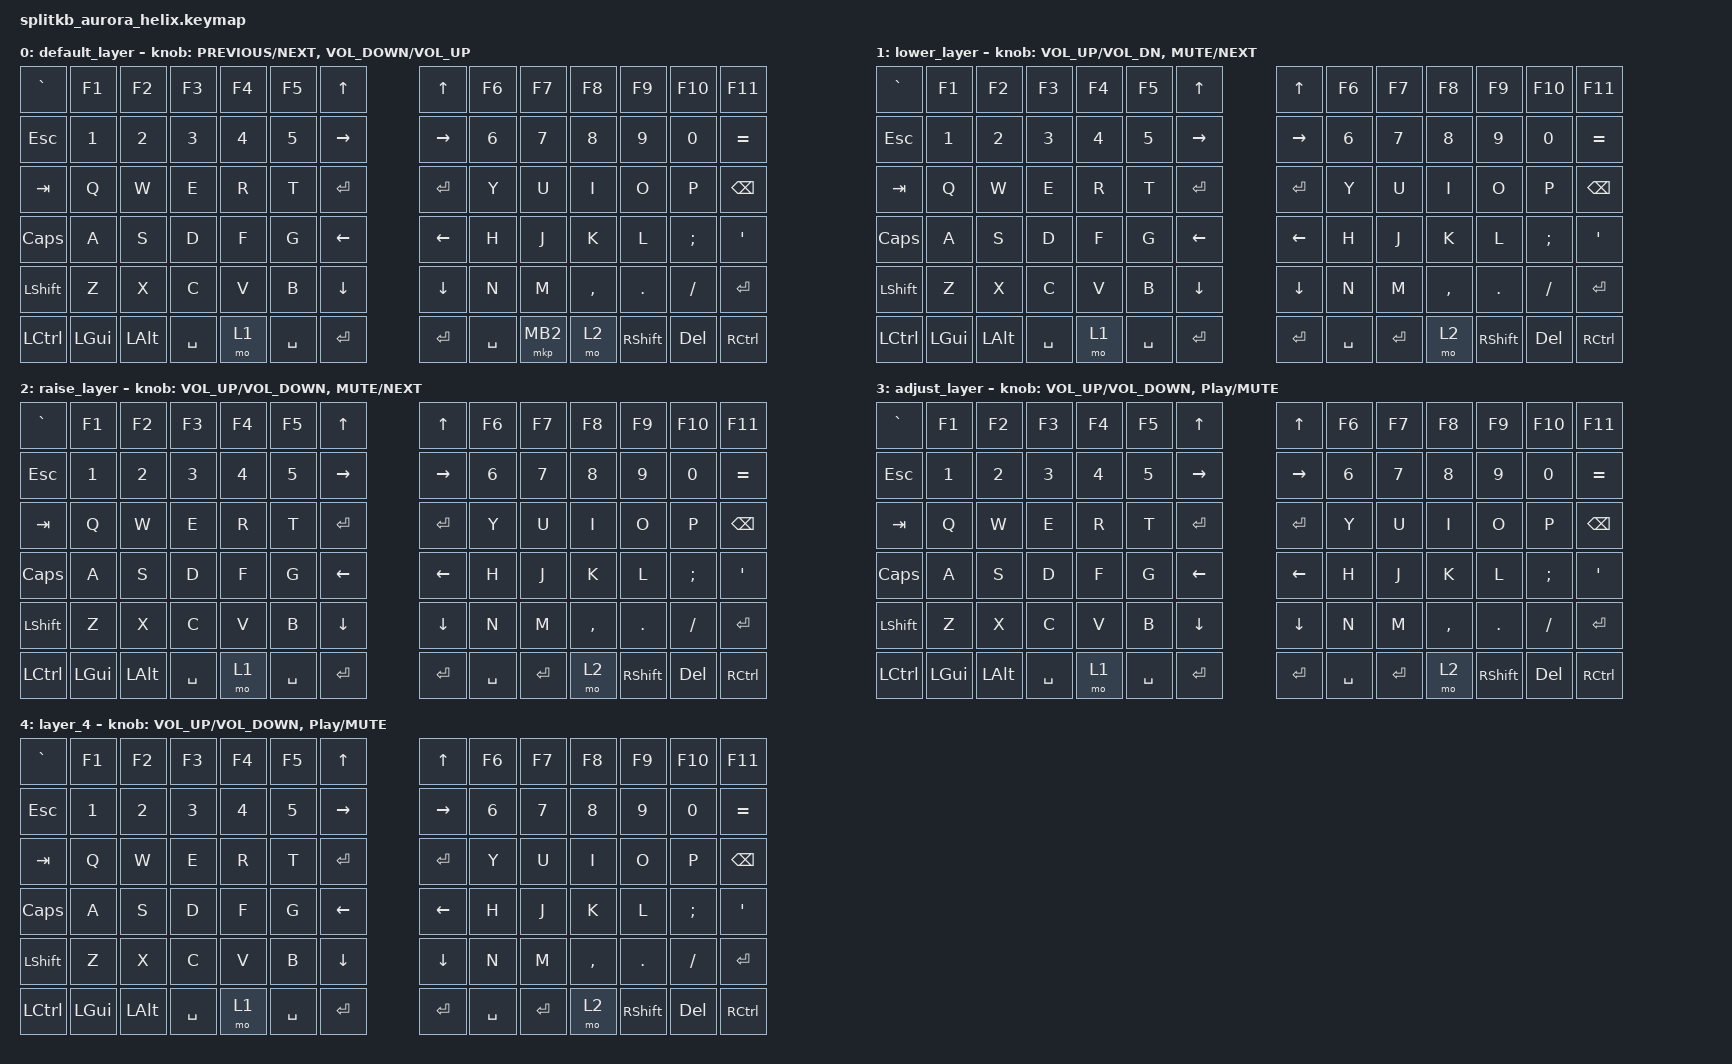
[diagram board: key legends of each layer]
/*
 * Copyright (c) 2023 The ZMK Contributors
 *
 * SPDX-License-Identifier: MIT
 */

#include <behaviors.dtsi>
#include <dt-bindings/zmk/keys.h>
#include <dt-bindings/zmk/pointing.h>

#define DEFAULT 0
#define LOWER  1
#define RAISE  2
#define ADJUST 3
#define NUMPAD 4

/* Uncomment this block if using RGB
&led_strip {
       // chain-length = <6>;
       chain-length = <38>; // Uncomment if using both per-key and underglow LEDs
       // chain-length = <32>; // Uncomment if using only per-key LEDs.
};
 */
/* NOTE: At the time of the creation of this keymap, there are no specified codes for 'eisuu' and 'kana' input in ZMK.
However, 'LANG1' and 'LANG2' are fully-functioning candidates for 'kana' and 'eisuu' input respectively.
As such, those are in use within the default layer at this time.*/

/ {
    behaviors {
        Tap4sticky_Hold4press: Tap4sticky_Hold4press {
            compatible = "zmk,behavior-hold-tap";
            label = "TAP4STICKY_HOLD4PRESS";
            bindings = <&kp>, <&sk>;

            #binding-cells = <2>;
            tapping-term-ms = <200>;
        };

        Tap4CapsWord_Hold4kp: Tap4CapsWord_Hold4kp {
            compatible = "zmk,behavior-hold-tap";
            label = "TAP4CAPSWORD_HOLD4KP";
            bindings = <&kp>, <&caps_word>;

            #binding-cells = <2>;
            tapping-term-ms = <200>;
        };

        Tap4sticky_Hold4press_LAYER: Tap4sticky_Hold4press_LAYER {
            compatible = "zmk,behavior-hold-tap";
            label = "TAP4STICKY_HOLD4PRESS_LAYER";
            bindings = <&mo>, <&mo>;

            #binding-cells = <2>;
            tapping-term-ms = <200>;
        };
    };

    keymap {
        compatible = "zmk,keymap";

        default_layer {
            bindings = <
&kp GRAVE  &kp F1    &kp F2    &kp F3     &kp F4  &kp F5     &kp UP     &kp UP     &kp F6     &kp F7    &kp F8     &kp F9           &kp F10     &kp F11
&kp ESC    &kp N1    &kp N2    &kp N3     &kp N4  &kp N5     &kp RIGHT  &kp RIGHT  &kp N6     &kp N7    &kp N8     &kp N9           &kp N0      &kp EQUAL
&kp TAB    &kp Q     &kp W     &kp E      &kp R   &kp T      &kp RET    &kp RET    &kp Y      &kp U     &kp I      &kp O            &kp P       &kp BSPC
&kp CAPS   &kp A     &kp S     &kp D      &kp F   &kp G      &kp LEFT   &kp LEFT   &kp H      &kp J     &kp K      &kp L            &kp SEMI    &kp APOS
&kp LSHFT  &kp Z     &kp X     &kp C      &kp V   &kp B      &kp DOWN   &kp DOWN   &kp N      &kp M     &kp COMMA  &kp DOT          &kp FSLH    &kp ENTER
&kp LCTRL  &kp LGUI  &kp LALT  &kp SPACE  &mo 1   &kp SPACE  &kp ENTER  &kp ENTER  &kp SPACE  &mkp MB2  &mo 2      &kp RIGHT_SHIFT  &kp DELETE  &kp RCTRL
            >;

            sensor-bindings =
                <&inc_dec_kp C_PREVIOUS C_NEXT>,
                <&inc_dec_kp C_VOLUME_DOWN C_VOLUME_UP>;
        };

        lower_layer {
            bindings = <
&kp GRAVE  &kp F1    &kp F2    &kp F3     &kp F4  &kp F5     &kp UP     &kp UP     &kp F6     &kp F7     &kp F8     &kp F9           &kp F10     &kp F11
&kp ESC    &kp N1    &kp N2    &kp N3     &kp N4  &kp N5     &kp RIGHT  &kp RIGHT  &kp N6     &kp N7     &kp N8     &kp N9           &kp N0      &kp EQUAL
&kp TAB    &kp Q     &kp W     &kp E      &kp R   &kp T      &kp RET    &kp RET    &kp Y      &kp U      &kp I      &kp O            &kp P       &kp BSPC
&kp CAPS   &kp A     &kp S     &kp D      &kp F   &kp G      &kp LEFT   &kp LEFT   &kp H      &kp J      &kp K      &kp L            &kp SEMI    &kp APOS
&kp LSHFT  &kp Z     &kp X     &kp C      &kp V   &kp B      &kp DOWN   &kp DOWN   &kp N      &kp M      &kp COMMA  &kp DOT          &kp FSLH    &kp ENTER
&kp LCTRL  &kp LGUI  &kp LALT  &kp SPACE  &mo 1   &kp SPACE  &kp ENTER  &kp ENTER  &kp SPACE  &kp ENTER  &mo 2      &kp RIGHT_SHIFT  &kp DELETE  &kp RCTRL
            >;

            sensor-bindings =
                <&inc_dec_kp C_VOLUME_UP C_VOL_DN>,
                <&inc_dec_kp C_MUTE C_NEXT>;
        };

        raise_layer {
            bindings = <
&kp GRAVE  &kp F1    &kp F2    &kp F3     &kp F4  &kp F5     &kp UP     &kp UP     &kp F6     &kp F7     &kp F8     &kp F9           &kp F10     &kp F11
&kp ESC    &kp N1    &kp N2    &kp N3     &kp N4  &kp N5     &kp RIGHT  &kp RIGHT  &kp N6     &kp N7     &kp N8     &kp N9           &kp N0      &kp EQUAL
&kp TAB    &kp Q     &kp W     &kp E      &kp R   &kp T      &kp RET    &kp RET    &kp Y      &kp U      &kp I      &kp O            &kp P       &kp BSPC
&kp CAPS   &kp A     &kp S     &kp D      &kp F   &kp G      &kp LEFT   &kp LEFT   &kp H      &kp J      &kp K      &kp L            &kp SEMI    &kp APOS
&kp LSHFT  &kp Z     &kp X     &kp C      &kp V   &kp B      &kp DOWN   &kp DOWN   &kp N      &kp M      &kp COMMA  &kp DOT          &kp FSLH    &kp ENTER
&kp LCTRL  &kp LGUI  &kp LALT  &kp SPACE  &mo 1   &kp SPACE  &kp ENTER  &kp ENTER  &kp SPACE  &kp ENTER  &mo 2      &kp RIGHT_SHIFT  &kp DELETE  &kp RCTRL
            >;

            sensor-bindings =
                <&inc_dec_kp C_VOLUME_UP C_VOLUME_DOWN>,
                <&inc_dec_kp K_MUTE C_NEXT>;
        };

        adjust_layer {
            bindings = <
&kp GRAVE  &kp F1    &kp F2    &kp F3     &kp F4  &kp F5     &kp UP     &kp UP     &kp F6     &kp F7     &kp F8     &kp F9           &kp F10     &kp F11
&kp ESC    &kp N1    &kp N2    &kp N3     &kp N4  &kp N5     &kp RIGHT  &kp RIGHT  &kp N6     &kp N7     &kp N8     &kp N9           &kp N0      &kp EQUAL
&kp TAB    &kp Q     &kp W     &kp E      &kp R   &kp T      &kp RET    &kp RET    &kp Y      &kp U      &kp I      &kp O            &kp P       &kp BSPC
&kp CAPS   &kp A     &kp S     &kp D      &kp F   &kp G      &kp LEFT   &kp LEFT   &kp H      &kp J      &kp K      &kp L            &kp SEMI    &kp APOS
&kp LSHFT  &kp Z     &kp X     &kp C      &kp V   &kp B      &kp DOWN   &kp DOWN   &kp N      &kp M      &kp COMMA  &kp DOT          &kp FSLH    &kp ENTER
&kp LCTRL  &kp LGUI  &kp LALT  &kp SPACE  &mo 1   &kp SPACE  &kp ENTER  &kp ENTER  &kp SPACE  &kp ENTER  &mo 2      &kp RIGHT_SHIFT  &kp DELETE  &kp RCTRL
            >;

            sensor-bindings =
                <&inc_dec_kp C_VOLUME_UP C_VOLUME_DOWN>,
                <&inc_dec_kp C_PLAY_PAUSE C_MUTE>;
        };

        layer_4 {
            bindings = <
&kp GRAVE  &kp F1    &kp F2    &kp F3     &kp F4  &kp F5     &kp UP     &kp UP     &kp F6     &kp F7     &kp F8     &kp F9           &kp F10     &kp F11
&kp ESC    &kp N1    &kp N2    &kp N3     &kp N4  &kp N5     &kp RIGHT  &kp RIGHT  &kp N6     &kp N7     &kp N8     &kp N9           &kp N0      &kp EQUAL
&kp TAB    &kp Q     &kp W     &kp E      &kp R   &kp T      &kp RET    &kp RET    &kp Y      &kp U      &kp I      &kp O            &kp P       &kp BSPC
&kp CAPS   &kp A     &kp S     &kp D      &kp F   &kp G      &kp LEFT   &kp LEFT   &kp H      &kp J      &kp K      &kp L            &kp SEMI    &kp APOS
&kp LSHFT  &kp Z     &kp X     &kp C      &kp V   &kp B      &kp DOWN   &kp DOWN   &kp N      &kp M      &kp COMMA  &kp DOT          &kp FSLH    &kp ENTER
&kp LCTRL  &kp LGUI  &kp LALT  &kp SPACE  &mo 1   &kp SPACE  &kp ENTER  &kp ENTER  &kp SPACE  &kp ENTER  &mo 2      &kp RIGHT_SHIFT  &kp DELETE  &kp RCTRL
            >;

            sensor-bindings =
                <&inc_dec_kp C_VOLUME_UP C_VOLUME_DOWN>,
                <&inc_dec_kp C_PLAY_PAUSE C_MUTE>;
        };
    };

physical_layout {
  compatible = "zmk,physical-layout";
       display-name = "Physical Layout";
  layout = <
&kp GRAVE  &kp F1    &kp F2    &kp F3     &kp F4  &kp F5     &kp UP     &kp UP     &kp F6     &kp F7     &kp F8     &kp F9           &kp F10     &kp F11
&kp ESC    &kp N1    &kp N2    &kp N3     &kp N4  &kp N5     &kp RIGHT  &kp RIGHT  &kp N6     &kp N7     &kp N8     &kp N9           &kp N0      &kp EQUAL
&kp TAB    &kp Q     &kp W     &kp E      &kp R   &kp T      &kp RET    &kp RET    &kp Y      &kp U      &kp I      &kp O            &kp P       &kp BSPC
&kp CAPS   &kp A     &kp S     &kp D      &kp F   &kp G      &kp LEFT   &kp LEFT   &kp H      &kp J      &kp K      &kp L            &kp SEMI    &kp APOS
&kp LSHFT  &kp Z     &kp X     &kp C      &kp V   &kp B      &kp DOWN   &kp DOWN   &kp N      &kp M      &kp COMMA  &kp DOT          &kp FSLH    &kp ENTER
&kp LCTRL  &kp LGUI  &kp LALT  &kp SPACE  &mo 1   &kp SPACE  &kp ENTER  &kp ENTER  &kp SPACE  &kp ENTER  &mo 2      &kp RIGHT_SHIFT  &kp DELETE  &kp RCTRL
>;
};


    conditional_layers {
        compatible = "zmk,conditional-layers";

        Adjust {
            if-layers = <1 2>;
            then-layer = <3>;
        };
    };
};
